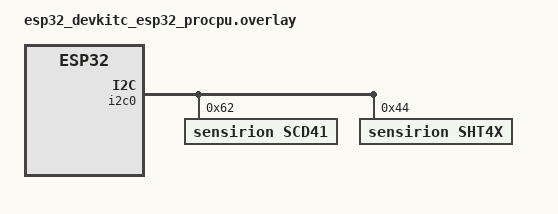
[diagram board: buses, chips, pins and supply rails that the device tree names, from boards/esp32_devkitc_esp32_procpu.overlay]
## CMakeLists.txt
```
cmake_minimum_required(VERSION 3.20.0)
find_package(Zephyr REQUIRED HINTS $ENV{ZEPHYR_BASE})
project(scd41_sht40_single)
target_sources(app PRIVATE src/main.c)
```

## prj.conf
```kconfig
# Common to all boards. Board-specific settings (console transport, FPU)
# are in boards/<board>.conf, sensor wiring in boards/<board>.overlay.

# Sensors on I2C.
CONFIG_I2C=y
CONFIG_SENSOR=y
CONFIG_SCD4X=y
CONFIG_SHT4X=y

# Shell on the board's console (USB CDC on the XIAO BLE, UART0 on the
# ESP32). `sensor get ...` comes for free with SENSOR_SHELL; our own
# commands are under `logger`.
CONFIG_SHELL=y
CONFIG_SENSOR_SHELL=y
CONFIG_SERIAL=y

# The data-logger lesson (see the blog post): 1024-byte default stacks
# overflow silently with shell + sensors; give all three room.
CONFIG_MAIN_STACK_SIZE=2048
CONFIG_SHELL_STACK_SIZE=2048
CONFIG_SYSTEM_WORKQUEUE_STACK_SIZE=2048
```

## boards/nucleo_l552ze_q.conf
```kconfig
# NUCLEO-L552ZE-Q: console and shell on LPUART1 (ST-LINK virtual COM port),
# nothing to add for them.

# The SCD41 offset compensation uses float maths (expf); use the M33's FPU.
CONFIG_FPU=y
```

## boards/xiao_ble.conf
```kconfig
# XIAO BLE: console and shell on USB CDC (the board definition already
# provides the CDC node as console and shell UART).
CONFIG_USB_DEVICE_STACK_NEXT=y
CONFIG_CDC_ACM_SERIAL_INITIALIZE_AT_BOOT=y
CONFIG_UART_LINE_CTRL=y
CONFIG_USBD_CDC_ACM_CLASS=y

# The SCD41 offset compensation uses float maths (expf); use the M4F's FPU.
CONFIG_FPU=y
```

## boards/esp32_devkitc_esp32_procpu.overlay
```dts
/*
 * Classic ESP32 boards via the in-tree esp32_devkitc/esp32/procpu target,
 * e.g. the LilyGO T5 V2.3.1 (ESP32-D0WDQ6-V3, 4 MB flash, no PSRAM):
 * console on UART0 (the board's USB-serial chip, CH9102 on the T5, 115200),
 * SCD41 and SHT40 on I2C0 = SDA GPIO21, SCL GPIO22 (already configured by
 * the board, 100 kHz - also the SCD41's maximum).
 *
 * esp32_devkitc describes a WROVER-E module with PSRAM; PSRAM support
 * (CONFIG_ESP_SPIRAM) stays off unless enabled, so this runs on PSRAM-less
 * chips too. A proper T5 board definition (e-paper on SPI, button on
 * GPIO39) would be its own project.
 */
&i2c0 {
	/* SCD41 single-shot (mode 2), see xiao_ble.overlay for the SCD40 note. */
	scd41: scd41@62 {
		compatible = "sensirion,scd41";
		reg = <0x62>;
		mode = <2>;
	};

	sht4x: sht4x@44 {
		compatible = "sensirion,sht4x";
		reg = <0x44>;
		repeatability = <2>;
	};
};
```

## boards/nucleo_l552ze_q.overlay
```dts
/*
 * NUCLEO-L552ZE-Q: SCD41 and SHT40 on I2C1, Arduino-style pins on the Zio
 * header: D14 = PB9 = SDA, D15 = PB8 = SCL, plus 3V3 (CN8 pin 7) and GND.
 * 100 kHz (the SoC default, also the SCD41's maximum).
 *
 * The board definition doesn't enable any I2C bus, so this does. The bus
 * timing register is computed by the driver (no "timings" property).
 * Console and shell stay on LPUART1 = the ST-LINK virtual COM port.
 */
&i2c1 {
	pinctrl-0 = <&i2c1_scl_pb8 &i2c1_sda_pb9>;
	pinctrl-names = "default";
	status = "okay";

	/* SCD41 single-shot (mode 2), see xiao_ble.overlay for the SCD40 note. */
	scd41: scd41@62 {
		compatible = "sensirion,scd41";
		reg = <0x62>;
		mode = <2>;
	};

	sht4x: sht4x@44 {
		compatible = "sensirion,sht4x";
		reg = <0x44>;
		repeatability = <2>;
	};
};
```

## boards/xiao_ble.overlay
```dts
/*
 * XIAO BLE (nRF52840): SCD41 (CO2) and SHT40 (temperature/humidity) on the
 * XIAO I2C pins (D4 = SDA, D5 = SCL), 100 kHz - also the SCD41's maximum.
 */
&xiao_i2c {
	/* SCD41 in single-shot mode (mode 2): each sensor_sample_fetch()
	 * triggers one ~5 s measurement. The SCD40 has no single-shot mode
	 * (its Zephyr binding, sensirion,scd40, has no `mode` at all) - with
	 * an SCD40 use compatible = "sensirion,scd40" and drop `mode`; it then
	 * measures periodically every 5 s.
	 */
	scd41: scd41@62 {
		compatible = "sensirion,scd41";
		reg = <0x62>;
		mode = <2>;
	};

	/* SHT40 (SHT41/45 too) - the sht4x driver. repeatability 2 = high (8.2 ms). */
	sht4x: sht4x@44 {
		compatible = "sensirion,sht4x";
		reg = <0x44>;
		repeatability = <2>;
	};
};
```

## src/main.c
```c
/*
 * SCD41 (CO2, single-shot) + SHT40 (T/RH) on a XIAO BLE, measured every
 * `interval` seconds (default 30) by a logger thread, printed to the USB
 * console. Shell commands:
 *   logger now             - measure immediately (extra, schedule unchanged)
 *   logger interval <s>    - set the interval (6..3600 s)
 *   logger toffset [C]     - show / set the temperature offset the app applies
 *                            to the SCD41 (compensated in software)
 * plus Zephyr's own `sensor get <device>` (SENSOR_SHELL).
 */
#include <math.h>
#include <stdlib.h>

#include <zephyr/kernel.h>
#include <zephyr/device.h>
#include <zephyr/drivers/sensor.h>
#include <zephyr/drivers/sensor/scd4x.h>
#include <zephyr/shell/shell.h>
#include <zephyr/shell/shell_uart.h>

/* SCD41 temperature offset - compensated in software.
 *
 * The sensor subtracts a stored offset (factory default 4 C) from its
 * temperature to cancel self-heating in *periodic* mode inside a typical
 * enclosure. In single-shot mode it barely heats, so 4 C over-corrects: the
 * first run read ~4.3 C below the SHT40, and a much higher %RH (computed
 * from that too-low temperature).
 *
 * Changing the offset in the sensor doesn't work with Zephyr's driver in
 * single-shot mode: sensor_attr_set() writes it to the sensor's RAM and
 * then sends power_down, and the next wake_up evidently reloads the stored
 * 4 C from EEPROM (persist_settings() starts with a wake_up too, so it
 * would save the 4 C again). So the sensor keeps its stored offset; the app
 * reads it once at boot and corrects every reading:
 *   T_true  = T_reported + sensor_offset - app_offset
 *   RH_true = RH_reported * es(T_reported) / es(T_true)
 * es() = Magnus saturation vapour pressure: the sensor computed RH against
 * the wrong temperature; this redoes it for the right one.
 */
#define APP_TOFFSET_MILLI_C_DEFAULT 0

static float sensor_toffset_c = 4.0f;   /* read from the sensor at boot */
static atomic_t app_toffset_mc = ATOMIC_INIT(APP_TOFFSET_MILLI_C_DEFAULT);

/* Saturation vapour pressure over water, hPa (Magnus, Sonntag 1990 coeffs). */
static float es_hpa(float t_c)
{
	return 6.112f * expf(17.62f * t_c / (243.12f + t_c));
}

static const struct device *const scd41 = DEVICE_DT_GET(DT_NODELABEL(scd41));
static const struct device *const sht4x = DEVICE_DT_GET(DT_NODELABEL(sht4x));

static atomic_t interval_s = ATOMIC_INIT(30);
K_SEM_DEFINE(measure_now, 0, 1);

/* sensor_value as "-12.34" without float printf support (32-bit maths:
 * fine for CO2 ppm, degrees C and %RH).
 */
static void fmt(char *buf, size_t len, const struct sensor_value *v, int decimals)
{
	int32_t div = 1;

	for (int i = 0; i < decimals; i++) {
		div *= 10;
	}
	/* value * 10^decimals, truncated: val1 * div + val2 / (10^6 / div) */
	int32_t scaled = v->val1 * div + v->val2 / (1000000 / div);
	bool neg = scaled < 0;
	int32_t a = neg ? -scaled : scaled;

	if (decimals == 0) {
		snprintk(buf, len, "%s%d", neg ? "-" : "", (int)a);
	} else {
		snprintk(buf, len, "%s%d.%0*d", neg ? "-" : "", (int)(a / div), decimals,
			 (int)(a % div));
	}
}

/* Print one line through the shell (not printk), so it doesn't get mixed
 * into the prompt or a command being typed.
 */
#define out(...) shell_print(shell_backend_uart_get_ptr(), __VA_ARGS__)

static void measure(void)
{
	struct sensor_value co2, t1, rh1, t1raw, rh1raw, t2, rh2;
	char a[24], b[24], c[24], d[24], e[24], f[24], g[24];
	uint32_t start = k_uptime_get_32();

	/* SCD41 single-shot: blocks ~5 s while the sensor measures. */
	int err1 = sensor_sample_fetch(scd41);

	if (err1 == 0) {
		sensor_channel_get(scd41, SENSOR_CHAN_CO2, &co2);
		sensor_channel_get(scd41, SENSOR_CHAN_AMBIENT_TEMP, &t1raw);
		sensor_channel_get(scd41, SENSOR_CHAN_HUMIDITY, &rh1raw);

		/* software offset compensation - see the comment at the top */
		float tr = sensor_value_to_float(&t1raw);
		float rhr = sensor_value_to_float(&rh1raw);
		float tt = tr + sensor_toffset_c - atomic_get(&app_toffset_mc) / 1000.0f;
		float rht = rhr * es_hpa(tr) / es_hpa(tt);

		sensor_value_from_float(&t1, tt);
		sensor_value_from_float(&rh1, rht > 100.0f ? 100.0f : rht);
	}

	int err2 = sensor_sample_fetch(sht4x);

	if (err2 == 0) {
		sensor_channel_get(sht4x, SENSOR_CHAN_AMBIENT_TEMP, &t2);
		sensor_channel_get(sht4x, SENSOR_CHAN_HUMIDITY, &rh2);
	}

	char line[192];
	int n = snprintk(line, sizeof(line), "[%u s] ", k_uptime_get_32() / 1000);

	if (err1 == 0) {
		fmt(a, sizeof(a), &co2, 0);
		fmt(b, sizeof(b), &t1, 2);
		fmt(c, sizeof(c), &rh1, 1);
		fmt(f, sizeof(f), &t1raw, 2);
		fmt(g, sizeof(g), &rh1raw, 1);
		n += snprintk(line + n, sizeof(line) - n,
			      "SCD41 CO2 %s ppm, %s C, %s %%RH [raw %s C %s %%] | ", a, b, c, f, g);
	} else {
		n += snprintk(line + n, sizeof(line) - n, "SCD41 error %d | ", err1);
	}
	if (err2 == 0) {
		fmt(d, sizeof(d), &t2, 2);
		fmt(e, sizeof(e), &rh2, 1);
		n += snprintk(line + n, sizeof(line) - n, "SHT40 %s C, %s %%RH", d, e);
	} else {
		n += snprintk(line + n, sizeof(line) - n, "SHT40 error %d", err2);
	}
	snprintk(line + n, sizeof(line) - n, "  (%u ms)", k_uptime_get_32() - start);
	out("%s", line);
}

/* Read the offset stored in the sensor (wakes it briefly; the driver puts
 * it back to sleep) - the base for the software compensation.
 */
static void scd41_read_sensor_toffset(void)
{
	struct sensor_value v;
	char buf[24];

	if (sensor_attr_get(scd41, SENSOR_CHAN_ALL,
			    (enum sensor_attribute)SENSOR_ATTR_SCD4X_TEMPERATURE_OFFSET, &v) == 0) {
		sensor_toffset_c = sensor_value_to_float(&v);
		fmt(buf, sizeof(buf), &v, 2);
		out("SCD41 stored temperature offset: %s C (compensated in software)", buf);
	} else {
		out("SCD41 offset read failed - assuming the factory 4 C");
	}
}

static void logger_thread(void *p1, void *p2, void *p3)
{
	ARG_UNUSED(p1);
	ARG_UNUSED(p2);
	ARG_UNUSED(p3);

	if (!device_is_ready(scd41)) {
		out("SCD41 not ready");
	} else {
		scd41_read_sensor_toffset();
	}
	if (!device_is_ready(sht4x)) {
		out("SHT40 not ready");
	}

	/* Fixed schedule: measurement n starts at n * interval, however long the
	 * (~5 s) measurement takes - not interval + 5 s apart. `logger now`
	 * takes an extra measurement without shifting the schedule.
	 */
	int64_t next = k_uptime_get() + (int64_t)atomic_get(&interval_s) * 1000;

	while (1) {
		int64_t wait = next - k_uptime_get();

		if (k_sem_take(&measure_now, K_MSEC(wait > 0 ? wait : 0)) == 0) {
			measure();   /* `logger now` */
			continue;
		}
		measure();
		next += (int64_t)atomic_get(&interval_s) * 1000;
		if (next < k_uptime_get()) {
			next = k_uptime_get();   /* fell behind (e.g. interval shortened) */
		}
	}
}
K_THREAD_DEFINE(logger_tid, 2048, logger_thread, NULL, NULL, NULL, 7, 0, 1000);

static int cmd_now(const struct shell *sh, size_t argc, char **argv)
{
	ARG_UNUSED(argc);
	ARG_UNUSED(argv);
	k_sem_give(&measure_now);
	shell_print(sh, "measuring (SCD41 single shot takes ~5 s)");
	return 0;
}

static int cmd_interval(const struct shell *sh, size_t argc, char **argv)
{
	if (argc < 2) {
		shell_print(sh, "interval %ld s", (long)atomic_get(&interval_s));
		return 0;
	}
	long s = strtol(argv[1], NULL, 10);

	if (s < 6 || s > 3600) {
		shell_error(sh, "interval must be 6..3600 s (a single shot takes ~5 s)");
		return -EINVAL;
	}
	atomic_set(&interval_s, s);
	shell_print(sh, "interval %ld s (from the next scheduled measurement)", s);
	return 0;
}

static int cmd_toffset(const struct shell *sh, size_t argc, char **argv)
{
	if (argc >= 2) {
		/* degrees C, e.g. 0, 1.5 - what the app subtracts instead of the
		 * sensor's stored offset
		 */
		double c = strtod(argv[1], NULL);

		if (c < -10 || c > 20) {
			shell_error(sh, "offset must be -10..20 C");
			return -EINVAL;
		}
		atomic_set(&app_toffset_mc, (atomic_val_t)lround(c * 1000));
	}
	shell_print(sh, "app temperature offset %d.%03d C (sensor stores %d.%02d C)",
		    (int)(atomic_get(&app_toffset_mc) / 1000),
		    (int)labs(atomic_get(&app_toffset_mc) % 1000),
		    (int)sensor_toffset_c, (int)(sensor_toffset_c * 100) % 100);
	return 0;
}

SHELL_STATIC_SUBCMD_SET_CREATE(sub_logger,
	SHELL_CMD(now, NULL, "Measure immediately", cmd_now),
	SHELL_CMD_ARG(interval, NULL, "Show or set interval: interval [6..3600]", cmd_interval, 1, 1),
	SHELL_CMD_ARG(toffset, NULL, "Show or set the app's SCD41 temperature offset: toffset [C]",
		      cmd_toffset, 1, 1),
	SHELL_SUBCMD_SET_END);
SHELL_CMD_REGISTER(logger, &sub_logger, "SCD41/SHT40 logger", NULL);

int main(void)
{
	return 0;
}
```
